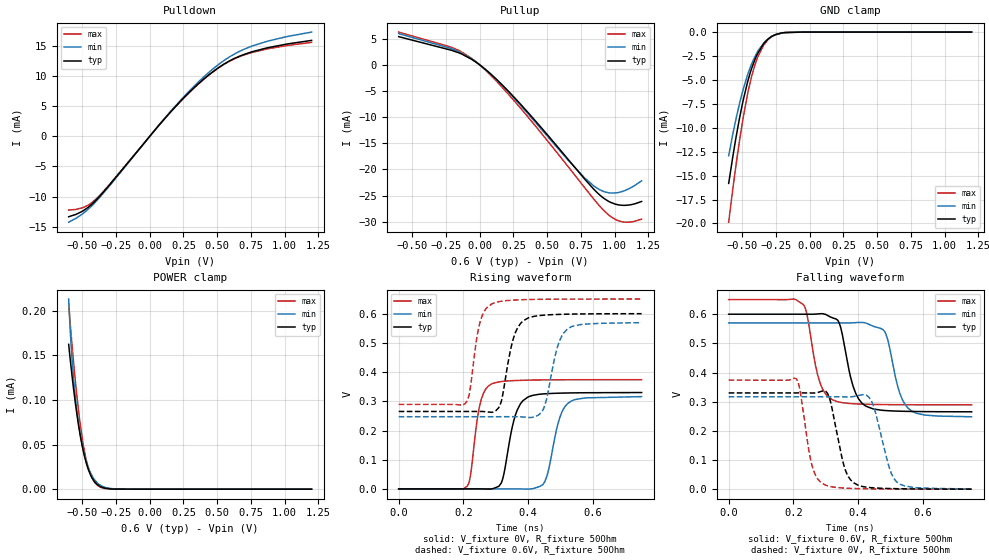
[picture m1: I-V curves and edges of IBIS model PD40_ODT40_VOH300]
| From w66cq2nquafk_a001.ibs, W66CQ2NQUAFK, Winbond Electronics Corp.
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[Model]   PD40_ODT40_VOH300
Model_type   I/O
Polarity   Non-Inverting
Enable   Active-Low
Vinl = 0.08
Vinh = 0.22
Vmeas = 0.15
Vref = 0
Cref = 0pF
Rref = 40
|   typ   min   max
C_comp   0.85pF   0.80pF   0.90pF
[Voltage Range]   0.6   0.57   0.65
[Temperature Range]   25   105   -40
[Pullup Reference]   0.6   0.57   0.65
[Pulldown Reference]   0   0   0
[Power Clamp Reference]   0.6   0.57   0.65
[GND Clamp Reference]   0   0   0
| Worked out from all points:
|   slope of the pulldown table from 0 to 0.09 V, typ, clamps not added: 37.4 ohm
|   slope of the pullup table from 0 to 0.09 V, typ, clamps not added: 46.5 ohm
|   GND clamp passes 1 mA (typ) near -0.33 V on its own axis
|   falling waveform, V_fixture 0.6V, R_fixture 50Ohm: 20-80 % time 40.6ps typ, 41.6ps min, 37.9ps max; typ from 0.6 V to 0.265 V
|   rising waveform, V_fixture 0V, R_fixture 50Ohm: 20-80 % time 36.6ps typ, 38.1ps min, 28ps max; typ from 0 V to 0.33 V
|   rising waveform, V_fixture 0.6V, R_fixture 50Ohm: 20-80 % time 36.8ps typ, 38.7ps min, 30ps max; typ from 0.265 V to 0.6 V
|   falling waveform, V_fixture 0V, R_fixture 50Ohm: 20-80 % time 38.7ps typ, 43.6ps min, 33.3ps max; typ from 0.33 V to 0 V
[Pulldown]
|   Voltage   I(typ)   I(min)   I(max)
-600mV    -13.36mA   -14.27mA   -12.25mA
-494.7mV  -12.4mA    -12.84mA   -11.85mA
-452.5mV  -11.74mA   -12.04mA   -11.39mA
-405.6mV  -10.79mA   -11.01mA   -10.6mA
-308.1mV  -8.359mA   -8.507mA   -8.274mA
166.2mV   4.346mA    4.445mA    4.336mA
349.6mV   8.527mA    8.814mA    8.495mA
507mV     11.39mA    11.91mA    11.34mA
626.1mV   12.95mA    13.69mA    12.89mA
761.2mV   14.1mA     15.06mA    13.98mA
1.013V    15.35mA    16.59mA    15.11mA
1.2V      15.98mA    17.36mA    15.64mA
[GND Clamp]
|   Voltage   I(typ)   I(min)   I(max)
-600mV    -15.82mA   -12.92mA   -19.87mA
-553.3mV  -11.64mA   -9.572mA   -14.69mA
-520.7mV  -9.08mA    -7.541mA   -11.44mA
-494mV    -7.233mA   -6.076mA   -9.067mA
-453.1mV  -4.871mA   -4.199mA   -6.009mA
-429mV    -3.764mA   -3.301mA   -4.573mA
-405.7mV  -2.874mA   -2.566mA   -3.431mA
-382.9mV  -2.188mA   -1.962mA   -2.541mA
-338.1mV  -1.167mA   -1.112mA   -1.307mA
-281.4mV  -442.7uA   -469.7uA   -477.8uA
-177.6mV  -45.17uA   -60.96uA   -34.09uA
1.2V      0A         0A         0A
[Pullup]
|   Voltage   I(typ)   I(min)   I(max)
-600mV    5.379mA    5.957mA    6.249mA
-205.6mV  2.752mA    3.052mA    3.299mA
-133.8mV  2.075mA    2.244mA    2.458mA
5.15mV    -103.8uA   -107.1uA   -117.6uA
298.3mV   -7.395mA   -7.617mA   -8.146mA
661.6mV   -18.25mA   -18.39mA   -19.66mA
776.5mV   -21.78mA   -21.57mA   -23.42mA
872.3mV   -24.46mA   -23.61mA   -26.48mA
954.4mV   -26.07mA   -24.44mA   -28.65mA
1.028V    -26.76mA   -24.4mA    -29.8mA
1.1V      -26.8mA    -23.75mA   -30.07mA
1.2V      -26.11mA   -22.16mA   -29.49mA
[POWER Clamp]
|   Voltage   I(typ)   I(min)   I(max)
-600mV    162.4uA    213.1uA    207.7uA
-581.2mV  135.3uA    159.9uA    172.3uA
-564.7mV  113.7uA    125.6uA    143.7uA
-541.9mV  87.14uA    90.81uA    108.2uA
-514.5mV  60.36uA    61.47uA    73.35uA
-494.7mV  44.84uA    46.12uA    52.19uA
-471.3mV  30.31uA    32.2uA     33.49uA
-452.5mV  21.32uA    23.64uA    22.52uA
-428.4mV  13.13uA    15.53uA    12.87uA
-384.5mV  4.918uA    6.448uA    4.021uA
-253.4mV  75.28nA    263.9nA    0A
1.2V      0A         0A         0A
[Ramp]
R_load = 50
|   typ   min   max
dV/dt_r 1.9798E-01/3.6491E-11   1.8959E-01/3.7936E-11   2.2434E-01/2.7951E-11
dV/dt_f 2.0084E-01/4.0443E-11   1.9307E-01/4.1469E-11   2.1643E-01/3.7855E-11
[Falling Waveform]
V_fixture = 0.6V
V_fixture_min = 0.57V
V_fixture_max = 0.65V
R_fixture = 50Ohm
C_fixture = 0F
|   Time   V(typ)   V(min)   V(max)
0s        600mV      570mV      650mV
230ps     600mV      570mV      633.3mV
282ps     601.6mV    570mV      364.7mV
319ps     588.3mV    570mV      307.3mV
341ps     570.8mV    570mV      298.8mV
384ps     353.3mV    570.6mV    293mV
423ps     285.2mV    569.8mV    291.1mV
485ps     269.6mV    533mV      289.9mV
554ps     266.7mV    277.5mV    289.5mV
750ps     265.3mV    248.2mV    289.3mV
[Rising Waveform]
V_fixture = 0V
V_fixture_min = 0V
V_fixture_max = 0V
R_fixture = 50Ohm
C_fixture = 0F
|   Time   V(typ)   V(min)   V(max)
0s        4.358uV    19.66uV    865.7nV
211ps     2.803uV    19.66uV    8.857mV
254ps     33.03uV    19.82uV    303mV
290ps     591.5uV    18.99uV    361mV
318ps     23.58mV    17.69uV    367.7mV
360ps     251.5mV    62.9uV     371mV
399ps     314.3mV    -550.4uV   372.4mV
451ps     325.6mV    24.41mV    373.3mV
522ps     328.5mV    292.6mV    373.7mV
750ps     330mV      316mV      373.9mV
[Rising Waveform]
V_fixture = 0.6V
V_fixture_min = 0.57V
V_fixture_max = 0.65V
R_fixture = 50Ohm
C_fixture = 0F
|   Time   V(typ)   V(min)   V(max)
0s        265.2mV    247.2mV    289.3mV
205ps     265.1mV    247.2mV    291.7mV
250ps     265.3mV    247.2mV    565.9mV
290ps     262.8mV    247.2mV    634.7mV
313ps     286.8mV    247.2mV    641.7mV
384ps     575.2mV    246.3mV    647.9mV
445ps     594.6mV    269.5mV    649.3mV
491ps     597.3mV    488.8mV    649.7mV
522ps     598.3mV    548.4mV    649.8mV
750ps     599.9mV    569.3mV    650mV
[Falling Waveform]
|Gnd
V_fixture = 0V
V_fixture_min = 0V
V_fixture_max = 0V
R_fixture = 50Ohm
C_fixture = 0F
|   Time   V(typ)   V(min)   V(max)
0s        330mV      316.7mV    373.9mV
208ps     330mV      316.7mV    379.4mV
258ps     329.7mV    316.7mV    78.33mV
298ps     336.3mV    316.7mV    14.43mV
355ps     84.06mV    316.5mV    3.852mV
386ps     21.87mV    317.7mV    2.311mV
440ps     5.104mV    303.9mV    980.3uV
497ps     2.174mV    69.57mV    374.8uV
522ps     1.582mV    21.95mV    248.4uV
750ps     79.19uV    782.6uV    -13.88uV
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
